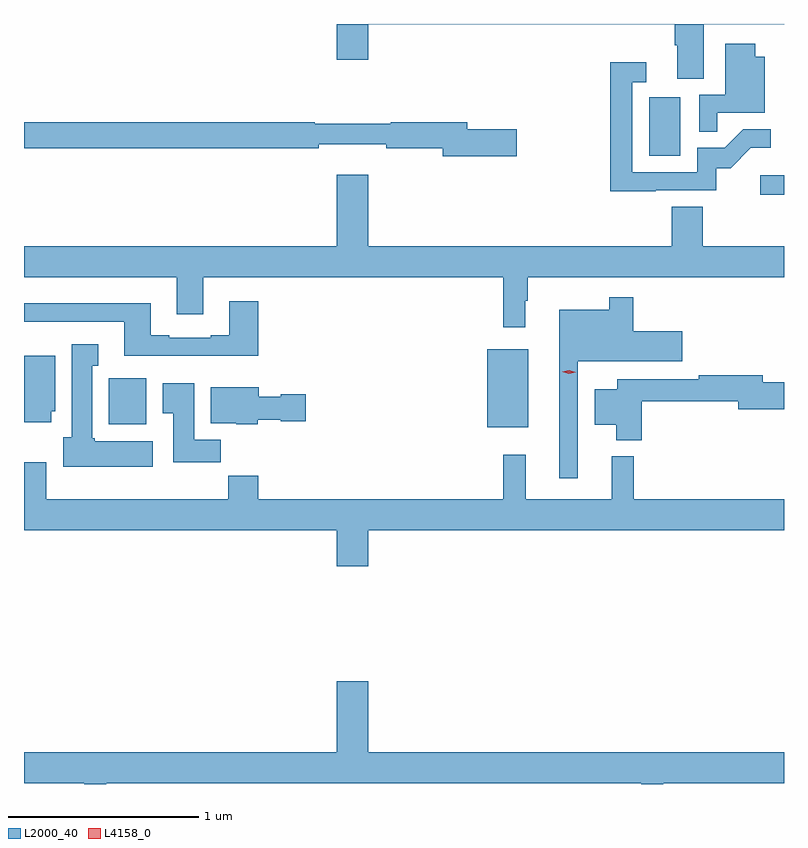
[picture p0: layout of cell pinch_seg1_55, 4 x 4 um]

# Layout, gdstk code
import gdstk
lib = gdstk.Library(unit=1e-6, precision=1e-09)
def R(c, l, rs):  # rectangles x0, y0, x1, y1
    for r in rs: c.add(gdstk.rectangle(r[:2], r[2:], *l))
def P(c, l, *ps):  # polygons
    for p in ps: c.add(gdstk.Polygon(p, *l))
L2000_40 = (2000, 40)
L4158_0 = (4158, 0)

pinch_seg1_55 = lib.new_cell('pinch_seg1_55')
R(pinch_seg1_55, L2000_40, [(1052.912,572.255,1053.127,572.665), (1050.92,572.27,1051.117,572.512), (1054.347,573.478,1054.473,573.58), (1053.764,573.684,1053.928,573.991)])
P(pinch_seg1_55, L2000_40, [(1054.051,574.376),(1054.473,574.376),(1054.473,574.377),(1050.473,574.377),(1050.473,574.376),(1052.12,574.376),(1052.12,574.188),(1052.284,574.188),(1052.284,574.376),(1053.899,574.376),(1053.899,574.264),(1053.911,574.264),(1053.911,574.09),(1054.051,574.09)],
  [(1054.121,573.909),(1054.372,573.909),(1054.372,574.204),(1054.321,574.204),(1054.321,574.273),(1054.163,574.273),(1054.163,574.005),(1054.026,574.005),(1054.026,573.811),(1054.121,573.811)],
  [(1053.797,573.501),(1054.116,573.501),(1054.116,573.618),(1054.192,573.618),(1054.299,573.725),(1054.403,573.725),(1054.403,573.823),(1054.259,573.823),(1054.162,573.726),(1054.017,573.726),(1054.017,573.597),(1053.675,573.597),(1053.675,574.071),(1053.748,574.071),(1053.748,574.177),(1053.559,574.177),(1053.559,573.496),(1053.797,573.496)],
  [(1053.067,573.824),(1052.806,573.824),(1052.806,573.86),(1052.402,573.86),(1052.402,573.853),(1052.002,573.853),(1052.002,573.86),(1050.473,573.86),(1050.473,573.724),(1052.024,573.724),(1052.024,573.743),(1052.38,573.743),(1052.38,573.724),(1052.678,573.724),(1052.678,573.682),(1053.067,573.682)],
  [(1053.112,572.921),(1053.124,572.921),(1053.124,573.044),(1054.473,573.044),(1054.473,573.208),(1054.046,573.208),(1054.046,573.416),(1053.881,573.416),(1053.881,573.208),(1052.284,573.208),(1052.284,573.583),(1052.12,573.583),(1052.12,573.208),(1050.473,573.208),(1050.473,573.044),(1051.277,573.044),(1051.277,572.85),(1051.417,572.85),(1051.417,573.044),(1052.995,573.044),(1052.995,572.781),(1053.112,572.781)],
  [(1053.387,572.603),(1053.937,572.603),(1053.937,572.761),(1053.68,572.761),(1053.68,572.938),(1053.552,572.938),(1053.552,572.872),(1053.29,572.872),(1053.29,571.986),(1053.387,571.986)],
  [(1051.706,572.917),(1051.553,572.917),(1051.553,572.74),(1051.457,572.74),(1051.457,572.727),(1051.237,572.727),(1051.237,572.74),(1051.141,572.74),(1051.141,572.908),(1050.473,572.908),(1050.473,572.811),(1051.001,572.811),(1051.001,572.63),(1051.706,572.63)],
  [(1051.15,572.182),(1050.846,572.182),(1050.846,572.196),(1050.832,572.196),(1050.832,572.579),(1050.865,572.579),(1050.865,572.692),(1050.725,572.692),(1050.725,572.202),(1050.68,572.202),(1050.68,572.048),(1051.15,572.048)],
  [(1050.616,572.34),(1050.637,572.34),(1050.637,572.632),(1050.473,572.632),(1050.473,572.28),(1050.616,572.28)],
  [(1053.725,572.392),(1054.232,572.392),(1054.232,572.35),(1054.473,572.35),(1054.473,572.492),(1054.36,572.492),(1054.36,572.528),(1054.024,572.528),(1054.024,572.508),(1053.596,572.508),(1053.596,572.455),(1053.476,572.455),(1053.476,572.267),(1053.59,572.267),(1053.59,572.186),(1053.725,572.186)],
  [(1051.508,572.188),(1051.369,572.188),(1051.369,572.485),(1051.202,572.485),(1051.202,572.329),(1051.259,572.329),(1051.259,572.07),(1051.508,572.07)],
  [(1051.704,572.294),(1051.824,572.294),(1051.824,572.287),(1051.957,572.287),(1051.957,572.429),(1051.824,572.429),(1051.824,572.416),(1051.708,572.416),(1051.708,572.464),(1051.457,572.464),(1051.457,572.276),(1051.59,572.276),(1051.59,572.27),(1051.704,572.27)],
  [(1051.706,572),(1051.549,572),(1051.549,571.876),(1050.589,571.876),(1050.589,572.071),(1050.473,572.071),(1050.473,571.712),(1052.12,571.712),(1052.12,571.524),(1052.284,571.524),(1052.284,571.712),(1054.473,571.712),(1054.473,571.876),(1053.683,571.876),(1053.683,572.101),(1053.566,572.101),(1053.566,571.876),(1053.113,571.876),(1053.113,572.11),(1052.995,572.11),(1052.995,571.876),(1051.706,571.876)],
  [(1050.905,570.38),(1053.721,570.38),(1053.721,570.377),(1053.837,570.377),(1053.837,570.38),(1054.473,570.38),(1054.473,570.544),(1052.284,570.544),(1052.284,570.919),(1052.12,570.919),(1052.12,570.544),(1050.473,570.544),(1050.473,570.38),(1050.789,570.38),(1050.789,570.377),(1050.905,570.377)])
P(pinch_seg1_55, L4158_0, [(1053.341,572.535),(1053.306,572.547),(1053.306,572.547),(1053.306,572.547),(1053.342,572.555),(1053.377,572.544),(1053.377,572.543),(1053.377,572.543)])

lib.write_gds('pinch_seg1_55.gds')
